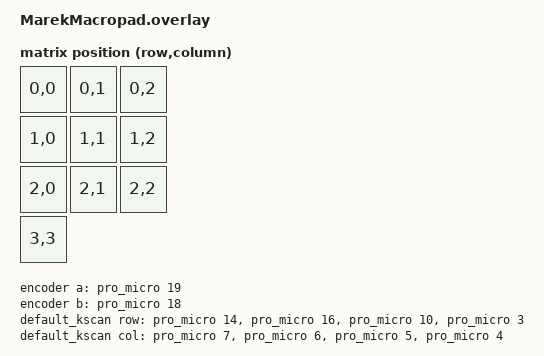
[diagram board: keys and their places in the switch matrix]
#include <dt-bindings/zmk/matrix_transform.h>

/ {
    encoder: encoder {
        compatible = "alps,ec11";
        label = "encoder";
        resolution = <4>;
        status = "okay";
    };

    chosen {
        zephyr,display = &oled;
        zmk,kscan = &default_kscan;
        zmk,matrix_transform = &default_tranform;
    };

    default_kscan: kscan{
        compatible = "zmk,kscan-gpio-matrix";
        label = "default_kscan";
        diode-direction = "col2row";

        row-gpios = <&pro_micro 14 (GPIO_ACTIVE_HIGH | GPIO_PULL_DOWN)>,
                    <&pro_micro 16 (GPIO_ACTIVE_HIGH | GPIO_PULL_DOWN)>,
                    <&pro_micro 10 (GPIO_ACTIVE_HIGH | GPIO_PULL_DOWN)>,
                    <&pro_micro 3 (GPIO_ACTIVE_HIGH | GPIO_PULL_DOWN)>;

        col-gpios = <&pro_micro 7 GPIO_ACTIVE_HIGH>,
                    <&pro_micro 6 GPIO_ACTIVE_HIGH>,
                    <&pro_micro 5 GPIO_ACTIVE_HIGH>,
                    <&pro_micro 4 GPIO_ACTIVE_HIGH>;
    };


    default_tranform: matrix_transform {
        compatible = "zmk,matrix-transform";
        rows = <4>;
        columns = <4>;

        map = <
            RC(0,0) RC(0,1) RC(0,2)
            RC(1,0) RC(1,1) RC(1,2)
            RC(2,0) RC(2,1) RC(2,2)
            RC(3,3)
            >;
    };

    sensors {
        compatible = "zmk,keymap-sensors";
        sensors = <&encoder>;
    };
};

&encoder {
    a-gpios = <&pro_micro 19 (GPIO_ACTIVE_HIGH | GPIO_PULL_UP)>;
    b-gpios = <&pro_micro 18 (GPIO_ACTIVE_HIGH | GPIO_PULL_UP)>;
};

&pinctrl {
       i2c0_default: i2c0_default {
               group1 {
                       psels = <NRF_PSEL(TWIM_SDA, 0, 17)>,
                               <NRF_PSEL(TWIM_SCL, 0, 06)>;
               };
       };

       i2c0_sleep: i2c0_sleep {
               group1 {
                       psels = <NRF_PSEL(TWIM_SDA, 0, 17)>,
                               <NRF_PSEL(TWIM_SCL, 0, 06)>;
                       low-power-enable;
               };
       };
};

&pro_micro_i2c {
    status = "okay";
    pinctrl-0 = <&i2c0_default>;
    pinctrl-1 = <&i2c0_sleep>;
    pinctrl-names = "default", "sleep";

    oled: ssd1306@3c {
        compatible = "solomon,ssd1306fb";
        reg = <0x3c>;
        label = "DISPLAY";
        width = <128>;
        height = <32>;
        segment-offset = <0>;
        page-offset = <0>;
        display-offset = <0>;
        multiplex-ratio = <31>;
        segment-remap;
        com-invdir;
        com-sequential;
        prechargep = <0x22>;
    };
};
